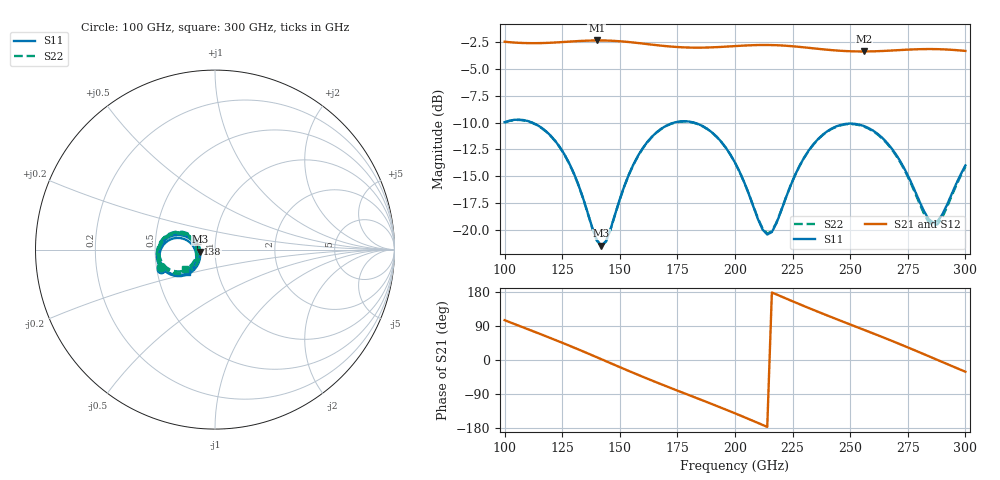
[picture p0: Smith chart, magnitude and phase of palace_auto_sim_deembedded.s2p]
! Created with skrf 1.11.0 (http://scikit-rf.org).
# GHz S DB R 50.0
!freq dBS11 angS11 dBS21 angS21 dBS12 angS12 dBS22 angS22
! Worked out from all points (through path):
!   101 points, 100 GHz to 300 GHz, reference 50 ohm
!   highest |S21| = -2.33 dB at 140 GHz (marker M1); lowest = -3.4 dB at 256 GHz (marker M2)
!   group delay of S21, straight-line fit = 6.89 ps
!   lowest |S11| = -21.5 dB at 142 GHz (marker M3), VSWR 1.18, Z = 42.3 - j0.909 ohm
!   |S11| at or under -10 dB: 112 GHz to 173.6 GHz (61.61 GHz wide, 43.1 % of centre); 182.2 GHz to end of sweep
!   |S22| runs from -21.5 to -9.8 dB; largest |S21 - S12| = 8.6e-14
!   S11 on the Smith chart (normalised r, x): 100 GHz: 0.53, -0.13; 138 GHz: 0.82, +0.05; 300 GHz: 0.71, -0.19
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100  -9.97 -160.1  -2.45 105.1  -2.45 105.1  -9.99 -162.4
108  -9.76 -174.8  -2.57 86.2  -2.57 86.2  -9.79 -177.3
118  -10.82 167.7  -2.56 62.5  -2.56 62.5  -10.84 165.0
126  -12.98 156.0  -2.47 43.0  -2.47 43.0  -13.01 153.2
134  -17.02 153.1  -2.36 22.8  -2.36 22.8  -17.05 150.1
138  -19.79 162.6  -2.33 12.5  -2.33 12.5  -19.83 159.5
140  -20.98 173.2  -2.33 7.3  -2.33 7.3  -21.02 170.0
142  -21.50 -172.7  -2.33 2.1  -2.33 2.1  -21.55 -175.8
154  -14.82 -136.3  -2.48 -29.1  -2.48 -29.1  -14.85 -139.7
168  -10.57 -154.3  -2.81 -64.0  -2.81 -64.0  -10.60 -158.0
184  -10.13 178.7  -3.00 -102.0  -3.00 -102.0  -10.15 174.7
200  -13.74 157.0  -2.85 -140.7  -2.85 -140.7  -13.74 152.7
214  -20.46 -173.4  -2.75 -176.6  -2.75 -176.6  -20.37 -178.3
224  -15.95 -138.8  -2.85 157.5  -2.85 157.5  -15.95 -144.4
234  -12.03 -145.3  -3.06 132.3  -3.06 132.3  -12.06 -151.0
244  -10.35 -159.9  -3.27 108.0  -3.27 108.0  -10.39 -165.9
256  -10.33 -178.9  -3.36 79.6  -3.36 79.6  -10.38 174.8
268  -12.41 164.9  -3.27 50.7  -3.27 50.7  -12.49 158.2
278  -16.33 162.9  -3.16 25.6  -3.16 25.6  -16.49 155.7
286  -19.35 -171.5  -3.13 5.0  -3.13 5.0  -19.65 -178.2
290  -18.58 -153.4  -3.16 -5.3  -3.16 -5.3  -18.83 -159.4
300  -14.01 -140.7  -3.31 -30.9  -3.31 -30.9  -14.12 -146.9
